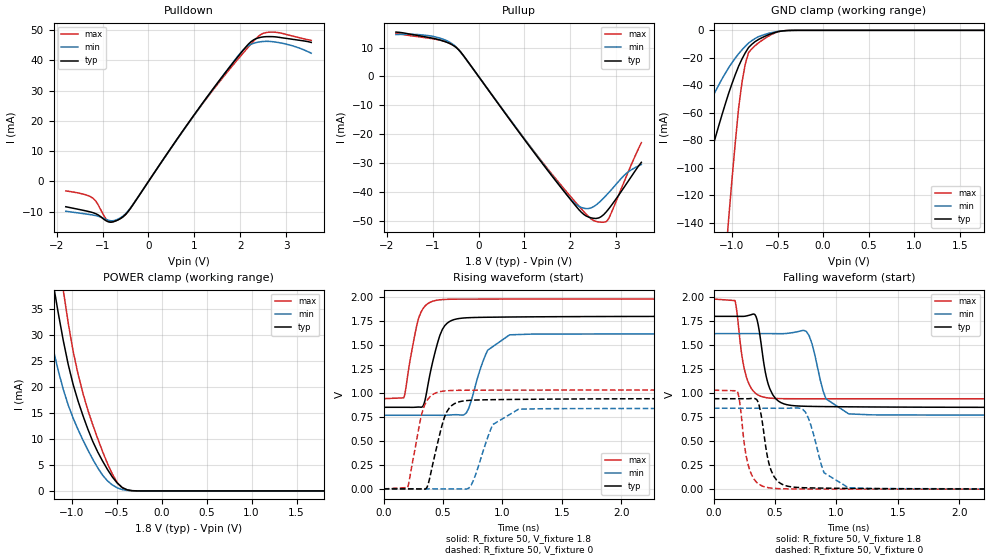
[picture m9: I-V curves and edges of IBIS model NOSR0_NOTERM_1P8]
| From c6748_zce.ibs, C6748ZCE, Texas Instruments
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|   Model Cell NOSR0_NOTERM_1P8
|NOSR0_NOTERM_1P8
[Model]   NOSR0_NOTERM_1P8
Model_type   3-state
Polarity   Non-Inverting
Enable   Active-Low
Cref =  15.0000pF
Rref =  100.0000M
Vref =  0V
Vmeas =  0.9
C_comp   3.009089p   2.23501p   3.950269p
[Temperature Range]   25   125   -40
[Voltage Range]   1.8   1.62   1.98
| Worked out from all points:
|   slope of the pulldown table from 0 to 0.27 V, typ, clamps not added: 44.1 ohm
|   slope of the pullup table from 0 to 0.27 V, typ, clamps not added: 45.3 ohm
|   GND clamp passes 1 mA (typ) near -0.50 V on its own axis
|   POWER clamp passes 1 mA (typ) near -0.46 V on its own axis
|   rising waveform, R_fixture 50, V_fixture 1.8: 20-80 % time 110ps typ, 136ps min, 94.7ps max; typ from 0.851 V to 1.8 V
|   rising waveform, R_fixture 50, V_fixture 0: 20-80 % time 113ps typ, 142ps min, 98.3ps max; typ from 0 V to 0.942 V
|   falling waveform, R_fixture 50, V_fixture 1.8: 20-80 % time 83.4ps typ, 103ps min, 75.9ps max; typ from 1.8 V to 0.851 V
|   falling waveform, R_fixture 50, V_fixture 0: 20-80 % time 81ps typ, 111ps min, 72.1ps max; typ from 0.942 V to 0 V
[POWER_clamp]
|   voltage   I(typ)   I(min)   I(max)
-1.8V     107.1mA    82.38mA    134mA
-1.327V   53.28mA    37.63mA    69.44mA
-1.182V   37.78mA    25.73mA    50.07mA
-1.091V   28.94mA    19.52mA    38.61mA
-1.073V   27.41mA    18.52mA    36.52mA
-981.8mV  20.5mA     14.01mA    26.9mA
-872.7mV  14.5mA     9.789mA    18.8mA
-709.1mV  7.513mA    4.451mA    10.09mA
-545.5mV  2.674mA    1.139mA    3.21mA
-436.4mV  654.9uA    255.5uA    594.4uA
-327.3mV  54.9uA     31.45uA    28.93uA
1.8V      5.504nA    118.5nA    1.898nA
[Pulldown]
|   voltage   I(typ)   I(min)   I(max)
-1.8V     -8.351mA   -9.832mA   -3.116mA
-1.2V     -10.35mA   -11.12mA   -5.615mA
-872.7mV  -13.35mA   -12.83mA   -13.13mA
-600mV    -12.16mA   -11.91mA   -12.18mA
-381.8mV  -8.669mA   -8.547mA   -8.669mA
1.145V    25.19mA    25.08mA    24.97mA
1.855V    39.42mA    39.58mA    38.69mA
2.127V    44.53mA    44.34mA    43.55mA
2.291V    46.79mA    45.65mA    46.35mA
2.564V    47.83mA    46.29mA    49.2mA
3.055V    47.15mA    45.17mA    48.35mA
3.545V    45.94mA    42.37mA    46.6mA
[Pullup]
|   voltage   I(typ)   I(min)   I(max)
-1.8V     15.34mA    14.46mA    14.83mA
-981.8mV  13.15mA    13.81mA    12.99mA
-709.1mV  11.92mA    12.48mA    11.95mA
-490.9mV  10.05mA    10.19mA    10.14mA
1.145V    -24.96mA   -24.69mA   -24.66mA
2.018V    -42.87mA   -42.71mA   -41.79mA
2.291V    -47.72mA   -45.58mA   -46.74mA
2.509V    -49.09mA   -45.01mA   -49.87mA
2.673V    -48.48mA   -42.88mA   -50.42mA
2.836V    -45.77mA   -40.16mA   -49.13mA
3.218V    -37.2mA    -33.54mA   -34.59mA
3.545V    -29.71mA   -30.45mA   -22.9mA
[GND_clamp]
|   voltage   I(typ)   I(min)   I(max)
-1.8V     -229.3mA   -132mA     -818.5mA
-1.436V   -139.1mA   -79.12mA   -490.7mA
-1.073V   -53.39mA   -31.17mA   -167.2mA
-1.036V   -45.75mA   -27.16mA   -136.8mA
-927.3mV  -26.08mA   -17mA      -56.49mA
-890.9mV  -20.9mA    -14.21mA   -38.02mA
-854.5mV  -16.38mA   -11.64mA   -24.6mA
-818.2mV  -12.5mA    -9.274mA   -16.24mA
-709.1mV  -6.663mA   -4.641mA   -9.158mA
-527.3mV  -1.534mA   -1.158mA   -1.867mA
-381.8mV  -101.4uA   -119.6uA   -85.85uA
1.764V    4.755nA    714.3nA    1.257nA
[Ramp]
| variable   typ   min   max
dV/dt_f  0.5840345/83.79068p   0.5315097/0.104203n   0.6348468/76.13274p
dV/dt_r  0.5671716/0.1130405n  0.5072191/0.1407456n  0.6204798/98.46184p
R_load = 50
[Rising Waveform]
R_fixture = 50
V_fixture = 1.8
V_fixture_min = 1.62
V_fixture_max = 1.98
|   time   V(typ)   V(min)   V(max)
0s        851mV      767.9mV    940.9mV
168.8ps   851mV      767.9mV    949.4mV
276.8ps   852.3mV    767.9mV    1.692V
328.8ps   859.1mV    767.9mV    1.875V
456.8ps   1.534V     767.7mV    1.969V
535.2ps   1.729V     769.2mV    1.977V
696ps     1.784V     791.8mV    1.98V
876ps     1.79V      1.446V     1.98V
1.061ns   1.793V     1.607V     1.98V
5.314ns   1.8V       1.618V     1.98V
[Rising Waveform]
R_fixture = 50
V_fixture = 0
V_fixture_min = 0
V_fixture_max = 0
|   time   V(typ)   V(min)   V(max)
0s        84.48nV    277.2nV    37.22nV
201.6ps   2.862uV    299.7nV    13.85mV
313.6ps   -777.2uV   -567.6nV   743.9mV
356.8ps   1.747mV    575.1nV    903.1mV
504ps     716.4mV    -481uV     1.02V
573.6ps   869.8mV    -1.013mV   1.026V
716ps     922.8mV    6.213mV    1.029V
919.2ps   930.5mV    671.2mV    1.03V
1.137ns   933.6mV    831.7mV    1.03V
6.148ns   942mV      841.2mV    1.031V
[Falling Waveform]
R_fixture = 50
V_fixture = 1.8
V_fixture_min = 1.62
V_fixture_max = 1.98
|   time   V(typ)   V(min)   V(max)
0s        1.8V       1.62V      1.98V
172.8ps   1.8V       1.62V      1.964V
245.6ps   1.8V       1.62V      1.272V
335.2ps   1.819V     1.62V      1.005V
428.8ps   1.165V     1.62V      952.8mV
525.6ps   918.3mV    1.619V     943.5mV
754.4ps   863.1mV    1.643V     941.5mV
914.4ps   859.9mV    940.8mV    941.4mV
1.099ns   857.7mV    784.1mV    941.3mV
5.344ns   851mV      769.5mV    940.9mV
[Falling Waveform]
R_fixture = 50
V_fixture = 0
V_fixture_min = 0
V_fixture_max = 0
|   time   V(typ)   V(min)   V(max)
0s        942mV      842.8mV    1.031V
193.6ps   942mV      842.8mV    1.014V
269.6ps   941.7mV    842.8mV    311.5mV
352.8ps   927.8mV    842.8mV    67.53mV
459.2ps   224.8mV    842.8mV    12.44mV
554.4ps   52.13mV    842.6mV    4.282mV
726.4ps   15.26mV    829.7mV    1.597mV
898.4ps   10.71mV    170.9mV    788.1uV
1.1ns     7.911mV    13.12mV    343.5uV
5.73ns    76.7uV     1.621mV    31.81nV
